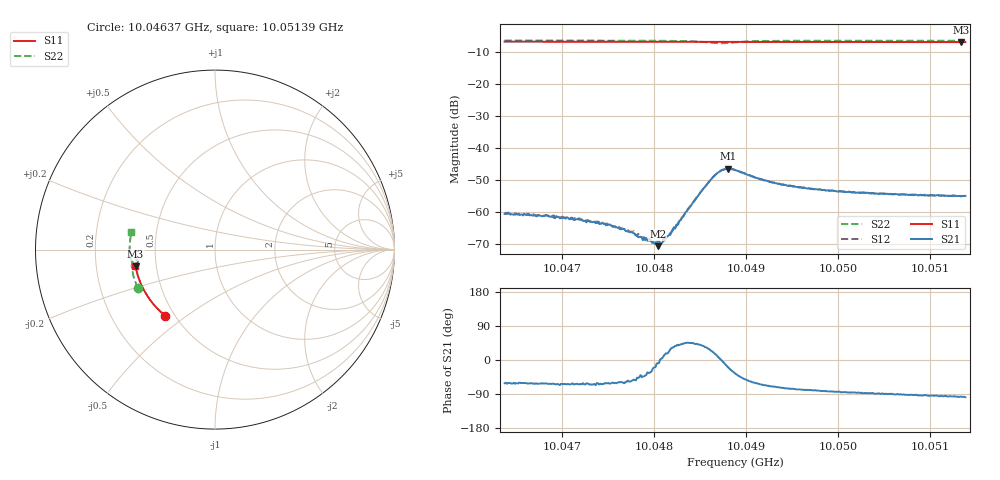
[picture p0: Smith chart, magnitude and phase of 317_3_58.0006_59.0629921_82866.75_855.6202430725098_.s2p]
#  HZ  S  RI  R  50.00
! Rohde & Schwarz Vector Network Analyzer
! Rohde-Schwarz,ZNB20-2Port,1311601062101988,3.16
! Created: UTC 3/21/2024, 1:04:27 AM
! freq[Hz]  re:S11  im:S11  re:S21  im:S21  re:S12  im:S12  re:S22  im:S22
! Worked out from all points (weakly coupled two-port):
!   401 points, 10.04637 GHz to 10.05139 GHz, reference 50 ohm
!   highest |S21| = -46.40 dB at 10.0488 GHz (marker M1); lowest = -70.6 dB at 10.04804 GHz (marker M2)
!   lowest |S11| = -6.9 dB at 10.05134 GHz (marker M3), VSWR 2.65, Z = 19 - j4.44 ohm
!   |S11| at or under -10 dB: nowhere
!   |S22| runs from -7.2 to -6.4 dB; largest |S21 - S12| = 0.00032
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1.0046371e10  -0.2788 -0.3674  0.000454 -0.000828  0.000513 -0.000819  -0.4297 -0.2139
1.0046823e10  -0.3014 -0.3478  0.000434 -0.000793  0.00047 -0.000781  -0.4418 -0.186
1.0047211e10  -0.3198 -0.3298  0.000337 -0.000688  0.000345 -0.000664  -0.4504 -0.1609
1.0047512e10  -0.3333 -0.3153  0.0003 -0.000579  0.000338 -0.000515  -0.4563 -0.1408
1.004775e10  -0.3434 -0.3035  0.000276 -0.000406  0.000304 -0.000398  -0.4602 -0.1242
1.0047851e10  -0.3477 -0.2982  0.00032 -0.000266  0.000325 -0.000271  -0.4614 -0.1169
1.0048001e10  -0.3538 -0.2904  0.000308 -0.000111  0.000354 -7.92e-05  -0.4629 -0.1054
1.0048039e10  -0.3553 -0.2884  0.000293 -4.41e-05  0.000355 -4.84e-05  -0.4632 -0.1025
1.0048051e10  -0.3558 -0.2879  0.000324 -4.7e-05  0.000343 -7.88e-06  -0.4633 -0.1014
1.0048064e10  -0.3563 -0.2872  0.00034 7.12e-06  0.000355 2.41e-05  -0.4634 -0.1006
1.0048114e10  -0.3583 -0.2845  0.000375 9.49e-05  0.000343 0.000121  -0.4635 -0.0966
1.0048202e10  -0.3618 -0.2798  0.000436 0.000283  0.000473 0.000289  -0.4636 -0.089
1.0048465e10  -0.3716 -0.2656  0.00126 0.00116  0.00121 0.00126  -0.4571 -0.0646
1.0048641e10  -0.3778 -0.2558  0.00331 0.00126  0.00326 0.00146  -0.4385 -0.0556
1.0048728e10  -0.3807 -0.251  0.00447 7.32e-06  0.00453 0.000255  -0.4298 -0.0635
1.0048804e10  -0.3833 -0.2471  0.00452 -0.00158  0.00462 -0.00129  -0.4323 -0.0739
1.0048879e10  -0.3859 -0.2429  0.00373 -0.00263  0.00392 -0.00237  -0.4415 -0.0783
1.0049267e10  -0.3985 -0.2205  0.00105 -0.00276  0.00124 -0.00274  -0.4693 -0.0505
1.0049719e10  -0.4115 -0.1939  0.00041 -0.00229  0.000538 -0.00228  -0.4752 -0.0152
1.0050559e10  -0.4307 -0.1423  3.27e-05 -0.00195  0.000125 -0.00191  -0.4738 0.0432
1.0051336e10  -0.4427 -0.0928  -0.000201 -0.00177  -9.55e-05 -0.00177  -0.4659 0.0945
1.0051386e10  -0.4434 -0.0895  -0.000258 -0.00179  -0.000141 -0.00181  -0.4653 0.0977
